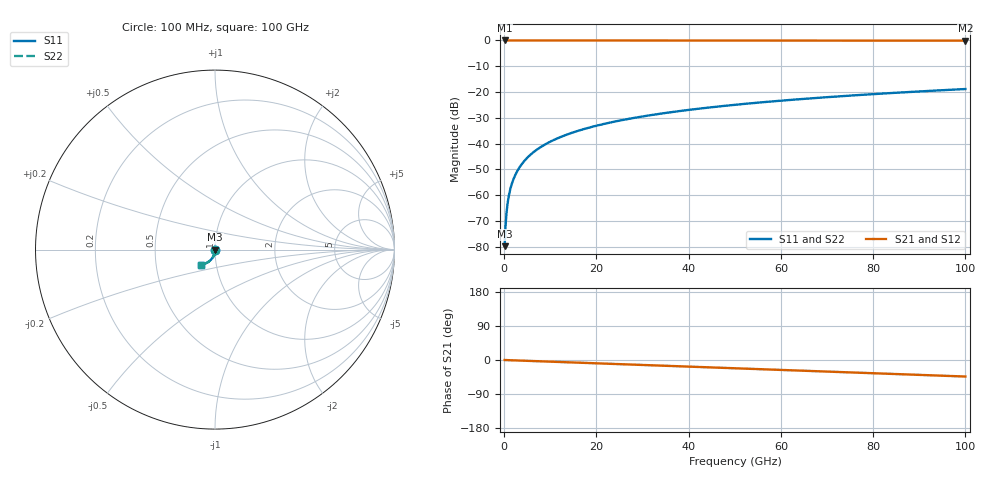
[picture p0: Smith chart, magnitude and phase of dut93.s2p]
! Touchstone file exported from HFSS 2026.1.0
!  File:  C:/ffzhzh/LocalFiles/Ansys_Project_Files/temp_train_TSV_93_1783505646_55944.aedt
!  Generated:  06:15:15 PM Jul  8, 2026
!  Design:  TSV
!  Project:  temp_train_TSV_93_1783505646_55944
! Variables:
!  h_bsmrdl = 2um
!  h_ox = 20um
!  h_rdl = 5um
!  h_sub = 87.04um
!  h_tmrdl = 5um
!  h_tsv = 87.04um
!  h_via = 3um
!  l_bsmrdl = 300um
!  l_sub = 429.52um
!  l_tmrdl = 200um
!  m_sub = 200um
!  pitch = 51.26um
!  r_tsv = 14.76um
!  s_tmrdl = 10um
!  w_bsmrdl = 18um
!  w_sub = 500um
!  w_tmrdl = 12um
!  x_tsv_center1 = 206um
!  x_tsv_center2 = 524um
!  x_tsv_center3 = 736um
!  x_tsv_center4 = 1054um
!  x_tsv_center5 = 1266um
!  x_tsv_center6 = 1584um
# GHz S MA R 50.000000
! Terminal data exported
! Port[1] = TSV1_1_T1
! Port[2] = TSV1_1_T2
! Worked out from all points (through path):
!   1000 points, 100 MHz to 100 GHz, reference 50 ohm
!   highest |S21| = 0.00 dB at 100 MHz (marker M1); lowest = -0.1 dB at 100 GHz (marker M2)
!   group delay of S21, straight-line fit = 1.21 ps
!   lowest |S11| = -79.8 dB at 100 MHz (marker M3), VSWR 1.00, Z = 50 - j0.0066 ohm
!   |S11| at or under -10 dB: start of sweep to end of sweep
!   |S22| runs from -79.8 to -18.8 dB; largest |S21 - S12| = 4e-15
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0.1  0.0001023 -40.2  0.9999 -0.0  0.9999 -0.0  0.0001023 -40.2
! Gamma 0 0 0 0
! Port Impedance 50 0 50 0
0.4  0.00034 -65.4  0.9999 -0.2  0.9999 -0.2  0.00034 -65.4
0.7  0.0006405 -71.9  0.9998 -0.3  0.9998 -0.3  0.0006405 -71.9
0.8  0.0007444 -73.4  0.9998 -0.4  0.9998 -0.4  0.0007444 -73.4
1.1  0.001059 -76.7  0.9997 -0.5  0.9997 -0.5  0.001059 -76.7
1.4  0.001375 -78.8  0.9997 -0.6  0.9997 -0.6  0.001375 -78.8
1.8  0.001799 -80.6  0.9997 -0.8  0.9997 -0.8  0.001799 -80.7
2.4  0.002442 -82.5  0.9996 -1.1  0.9996 -1.1  0.002442 -82.5
3  0.003092 -83.7  0.9996 -1.3  0.9996 -1.3  0.003092 -83.7
3.8  0.003968 -85.0  0.9995 -1.7  0.9995 -1.7  0.003968 -85.0
4.8  0.005073 -86.2  0.9995 -2.1  0.9995 -2.1  0.005073 -86.2
5.9  0.006294 -87.3  0.9994 -2.6  0.9994 -2.6  0.006294 -87.3
8.7  0.00942 -89.5  0.9993 -3.8  0.9993 -3.8  0.00942 -89.5
12.3  0.01347 -91.8  0.9991 -5.4  0.9991 -5.4  0.01347 -91.8
16.8  0.01856 -94.3  0.9988 -7.3  0.9988 -7.3  0.01856 -94.3
24.1  0.02684 -98.0  0.9984 -10.5  0.9984 -10.5  0.02684 -98.0
33.4  0.03744 -102.4  0.9979 -14.6  0.9979 -14.6  0.03743 -102.4
41.2  0.04635 -106.0  0.9973 -17.9  0.9973 -17.9  0.04635 -106.1
50.1  0.05654 -110.1  0.9966 -21.8  0.9966 -21.8  0.05654 -110.1
66.7  0.0756 -117.6  0.995 -29.1  0.995 -29.1  0.0756 -117.7
83.4  0.0949 -125.2  0.993 -36.4  0.993 -36.4  0.0949 -125.2
100  0.1143 -132.7  0.9904 -43.6  0.9904 -43.6  0.1143 -132.7
